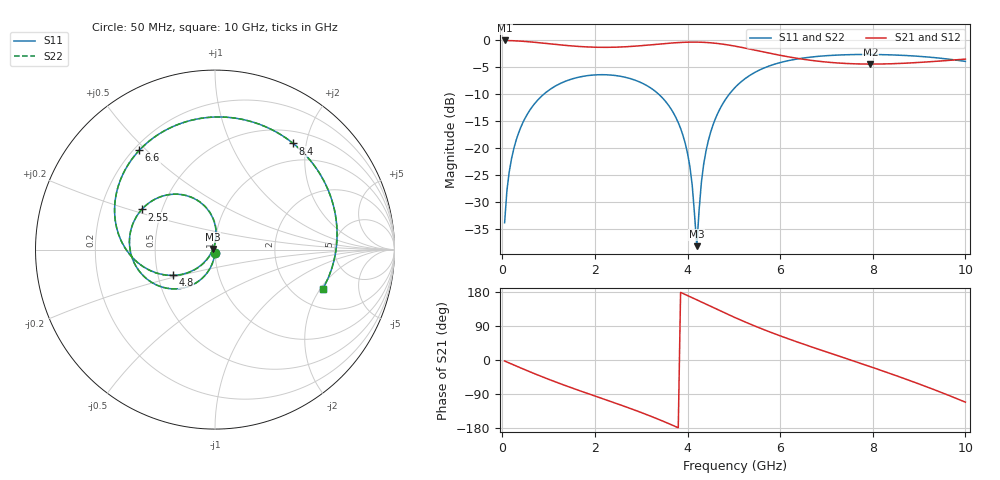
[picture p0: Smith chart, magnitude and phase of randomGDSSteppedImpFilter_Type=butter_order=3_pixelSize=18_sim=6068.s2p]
! freq	dB(S11)	phase(S11)	dB(S12)	phase(S12)
!  dB(S21)	phase(S21)	dB(S22)	phase(S22)
!S-par simulation data
#  GHz  S  DB  R 50
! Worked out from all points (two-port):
!   200 points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, 50 MHz to 10 GHz, reference 50 ohm
!   highest |S21| = -0.01 dB at 50 MHz (marker M1); lowest = -4.4 dB at 7.95 GHz (marker M2)
!   |S21| within 3 dB of the highest: start of sweep to 6.153 GHz
!   lowest |S11| = -38.2 dB at 4.2 GHz (marker M3), VSWR 1.03, Z = 48.8 + j0.405 ohm
!   |S11| at or under -10 dB: start of sweep to 892.5 MHz; 3.38 GHz to 4.898 GHz (1.518 GHz wide, 36.7 % of centre)
!   |S22| runs from -39.0 to -2.6 dB; largest |S21 - S12| = 0
!   S11 on the Smith chart (normalised r, x): 50 MHz: 1.00, -0.04; 2.55 GHz: 0.39, +0.22; 4.8 GHz: 0.60, -0.19; 6.6 GHz: 0.22, +0.47; 8.4 GHz: 0.69, +1.77; 10 GHz: 2.84, -2.11
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0.05  -33.81 -92.9  -0.01 -2.7  -0.01 -2.7  -33.81 -92.9
0.2  -21.91 -101.1  -0.05 -10.6  -0.05 -10.6  -21.91 -101.1
0.5  -14.29 -116.6  -0.20 -26.2  -0.20 -26.2  -14.29 -116.6
1.1  -8.69 -146.0  -0.70 -55.6  -0.70 -55.6  -8.69 -146.0
1.75  -6.65 -174.9  -1.17 -84.4  -1.17 -84.4  -6.65 -174.9
2.55  -6.65 151.3  -1.22 -118.5  -1.22 -118.5  -6.65 151.2
3.4  -10.16 112.8  -0.67 -157.9  -0.67 -157.9  -10.16 112.6
3.95  -19.08 87.5  -0.34 172.9  -0.34 172.9  -19.08 86.9
4.1  -26.73 87.6  -0.31 164.4  -0.31 164.4  -26.78 86.2
4.2  -38.15 160.4  -0.31 158.7  -0.31 158.7  -38.97 160.3
4.3  -26.24 -131.3  -0.33 153.0  -0.33 153.0  -26.29 -129.9
4.4  -20.45 -130.4  -0.38 147.2  -0.38 147.2  -20.46 -129.7
4.8  -11.20 -148.6  -0.74 124.4  -0.74 124.4  -11.20 -148.3
5.05  -8.52 -161.6  -1.10 110.6  -1.10 110.6  -8.52 -161.4
5.8  -4.63 161.9  -2.42 72.9  -2.42 72.9  -4.63 162.0
6.6  -3.15 127.4  -3.62 37.8  -3.62 37.8  -3.15 127.4
6.7  -3.06 123.3  -3.73 33.6  -3.73 33.6  -3.06 123.3
7.95  -2.60 72.5  -4.39 -17.7  -4.39 -17.7  -2.60 72.6
8.35  -2.67 55.8  -4.34 -34.6  -4.34 -34.6  -2.67 55.9
8.4  -2.68 53.7  -4.33 -36.8  -4.33 -36.8  -2.68 53.7
9.25  -3.12 16.1  -3.94 -74.8  -3.94 -74.8  -3.12 16.2
10  -3.89 -20.2  -3.46 -111.2  -3.46 -111.2  -3.89 -20.0
